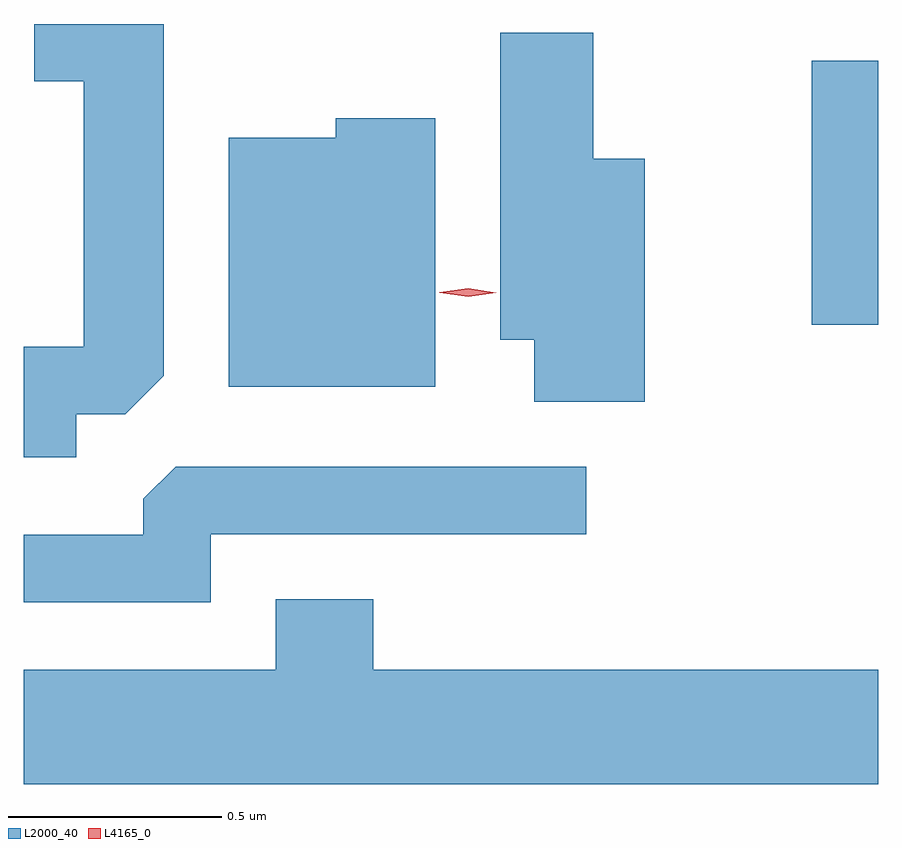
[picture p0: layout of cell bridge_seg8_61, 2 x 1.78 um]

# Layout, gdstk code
import gdstk
lib = gdstk.Library(unit=1e-6, precision=1e-09)
def R(c, l, rs):  # rectangles x0, y0, x1, y1
    for r in rs: c.add(gdstk.rectangle(r[:2], r[2:], *l))
def P(c, l, *ps):  # polygons
    for p in ps: c.add(gdstk.Polygon(p, *l))
L2000_40 = (2000, 40)
L4165_0 = (4165, 0)

bridge_seg8_61 = lib.new_cell('bridge_seg8_61')
R(bridge_seg8_61, L2000_40, [(1585.376,1926.291,1585.531,1926.909)])
P(bridge_seg8_61, L2000_40, [(1583.654,1926.081),(1583.769,1926.081),(1583.859,1926.172),(1583.859,1926.995),(1583.556,1926.995),(1583.556,1926.861),(1583.671,1926.861),(1583.671,1926.239),(1583.531,1926.239),(1583.531,1925.981),(1583.654,1925.981)],
  [(1584.984,1926.679),(1584.864,1926.679),(1584.864,1926.974),(1584.646,1926.974),(1584.646,1926.256),(1584.726,1926.256),(1584.726,1926.111),(1584.984,1926.111)],
  [(1584.494,1926.774),(1584.261,1926.774),(1584.261,1926.729),(1584.011,1926.729),(1584.011,1926.146),(1584.494,1926.146)],
  [(1583.969,1925.801),(1584.848,1925.801),(1584.848,1925.959),(1583.887,1925.959),(1583.811,1925.884),(1583.811,1925.799),(1583.531,1925.799),(1583.531,1925.641),(1583.969,1925.641)],
  [(1585.531,1925.484),(1584.349,1925.484),(1584.349,1925.649),(1584.121,1925.649),(1584.121,1925.484),(1583.531,1925.484),(1583.531,1925.216),(1585.531,1925.216)])
P(bridge_seg8_61, L4165_0, [(1584.571,1926.356),(1584.505,1926.366),(1584.504,1926.367),(1584.505,1926.367),(1584.571,1926.376),(1584.637,1926.366),(1584.637,1926.366),(1584.637,1926.366)])

lib.write_gds('bridge_seg8_61.gds')
